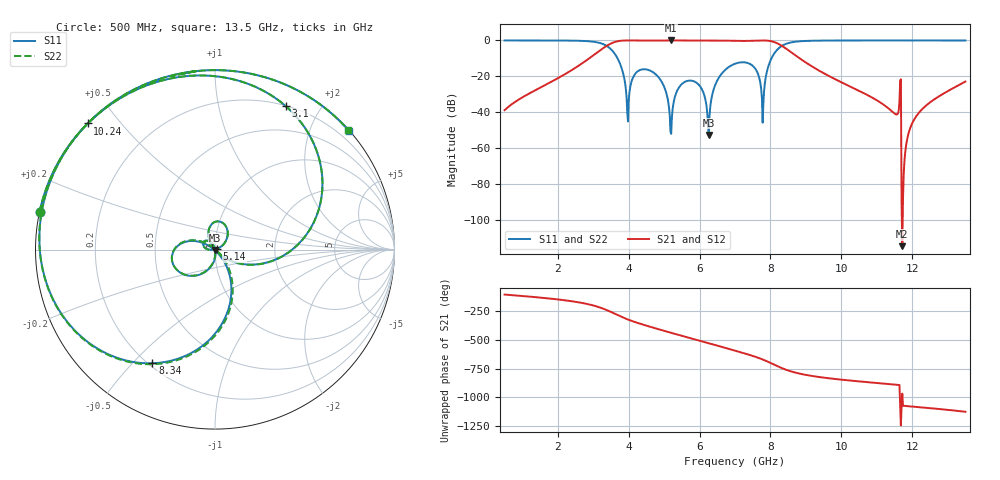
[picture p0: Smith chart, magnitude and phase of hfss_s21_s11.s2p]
! Design9_CPW_Bandpass_Filter HFSS Driven (20261121_105143_hfss_driven_s21_49164b56, 3 passes, 10um mesh)
# GHz S DB R 50
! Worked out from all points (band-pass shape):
!   651 points, 500 MHz to 13.5 GHz, reference 50 ohm
!   highest |S21| = 0.00 dB at 5.2 GHz (marker M1); lowest = -114.4 dB at 11.72 GHz (marker M2)
!   |S21| within 3 dB of the highest: 3.379 GHz to 8.323 GHz (4.943 GHz wide, 84.5 % of centre)
!   lowest |S11| = -52.6 dB at 6.26 GHz (marker M3), VSWR 1.00, Z = 50.2 - j0.172 ohm
!   |S11| at or under -10 dB: 3.688 GHz to 8.027 GHz (4.34 GHz wide, 74.1 % of centre)
!   |S22| runs from -52.6 to 0.0 dB; largest |S21 - S12| = 0
!   S11 on the Smith chart (normalised r, x): 500 MHz: 0.00, +0.11; 3.1 GHz: 0.21, +1.59; 5.14 GHz: 1.02, +0.01; 8.34 GHz: 0.22, -0.57; 10.24 GHz: 0.00, +0.41; 13.5 GHz: 0.01, +2.63
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0.5  -0.00 167.9  -38.74 -102.1  -38.74 -102.1  -0.00 167.9
2.68  -0.23 94.7  -12.82 -175.3  -12.82 -175.3  -0.23 94.7
3.1  -1.01 63.6  -6.85 153.6  -6.85 153.6  -1.01 63.6
3.68  -9.71 -10.9  -0.49 79.0  -0.49 79.0  -9.71 -11.1
3.98  -45.03 123.7  -0.00 39.1  -0.00 39.1  -45.03 134.6
4.26  -17.09 98.7  -0.09 8.8  -0.09 8.8  -17.09 98.9
4.84  -20.40 44.9  -0.04 -45.3  -0.04 -45.3  -20.40 44.4
5.14  -37.56 21.4  -0.00 -72.1  -0.00 -72.1  -37.56 14.4
5.2  -51.94 172.5  -0.00 -77.3  -0.00 -77.3  -51.94 -147.2
5.72  -22.31 147.1  -0.03 -121.9  -0.03 -121.9  -22.31 149.0
6.26  -52.56 -46.6  -0.00 -168.0  -0.00 -168.0  -52.56 -109.3
7  -12.95 -142.8  -0.23 127.0  -0.23 127.0  -12.95 -143.4
7.78  -45.70 175.8  -0.00 49.6  -0.00 49.6  -45.67 103.2
8.34  -2.82 -118.8  -3.21 -28.4  -3.21 -28.4  -2.82 -118.0
9.18  -0.16 174.7  -14.53 -95.1  -14.53 -95.1  -0.16 175.2
10.24  -0.01 135.3  -25.53 -134.5  -25.53 -134.5  -0.01 135.7
11.34  -0.00 104.7  -37.93 -165.1  -37.93 -165.1  -0.00 105.0
11.62  -0.00 97.0  -38.79 -173.0  -38.79 -173.0  -0.00 97.0
11.72  -0.00 95.0  -114.35 110.7  -114.35 110.7  -0.00 95.6
11.76  0.00 93.9  -74.26 3.9  -74.26 3.9  0.00 94.3
12.12  -0.00 84.1  -41.95 -5.8  -41.95 -5.8  -0.00 84.4
13.5  -0.02 41.6  -22.84 -48.3  -22.84 -48.3  -0.02 41.8
